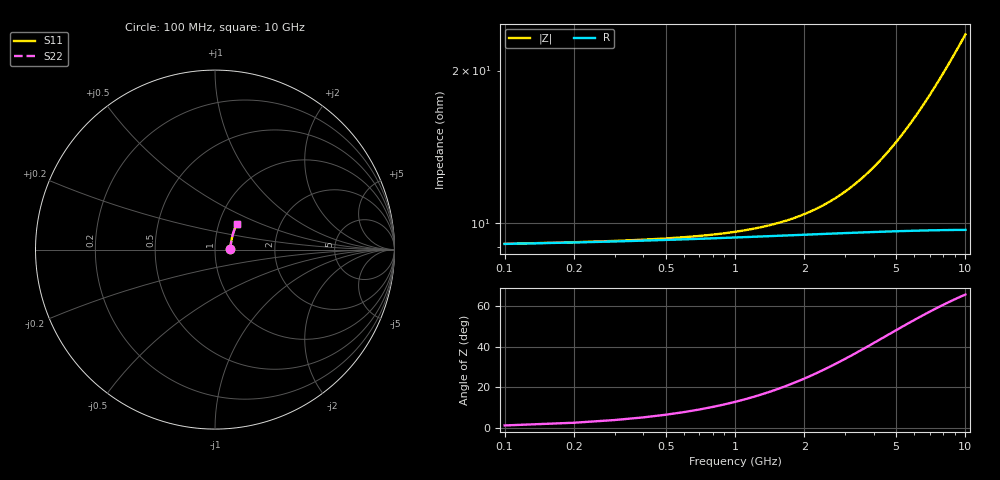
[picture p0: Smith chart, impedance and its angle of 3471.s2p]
# Hz S RI R 50.00
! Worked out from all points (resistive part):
!   100 points, 100 MHz to 10 GHz, reference 50 ohm
!   read as one part in series: R = 9.11 ohm at 100 MHz
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1e8  0.0835 0.00153  0.9165 -0.00209  0.9165 -0.00209  0.0835 0.00153
2e8  0.084 0.00305  0.916 -0.00417  0.916 -0.00417  0.084 0.00305
3e8  0.0844 0.00458  0.9156 -0.00624  0.9156 -0.00624  0.0844 0.00458
8e8  0.0857 0.0122  0.9143 -0.0166  0.9143 -0.0166  0.0857 0.0122
1.1e9  0.0863 0.0167  0.9137 -0.0228  0.9137 -0.0228  0.0863 0.0167
1.4e9  0.0869 0.0212  0.913 -0.029  0.913 -0.029  0.0869 0.0212
1.6e9  0.0873 0.0243  0.9126 -0.0331  0.9126 -0.0331  0.0873 0.0243
1.8e9  0.0877 0.0273  0.9122 -0.0373  0.9122 -0.0373  0.0877 0.0273
2.1e9  0.0884 0.0318  0.9115 -0.0434  0.9115 -0.0434  0.0884 0.0318
2.5e9  0.0893 0.0378  0.9106 -0.0517  0.9106 -0.0517  0.0893 0.0378
2.9e9  0.0902 0.0438  0.9096 -0.0599  0.9096 -0.0599  0.0902 0.0438
3.4e9  0.0916 0.0512  0.9082 -0.0701  0.9082 -0.0701  0.0916 0.0512
4e9  0.0933 0.0601  0.9064 -0.0823  0.9064 -0.0823  0.0933 0.0601
5.1e9  0.0971 0.0762  0.9025 -0.1045  0.9025 -0.1045  0.0971 0.0762
6e9  0.1007 0.0892  0.8987 -0.1225  0.8987 -0.1225  0.1007 0.0892
6.7e9  0.1038 0.0992  0.8954 -0.1364  0.8954 -0.1364  0.1038 0.0992
7.2e9  0.1063 0.1062  0.8929 -0.1463  0.8929 -0.1463  0.1063 0.1062
7.6e9  0.1083 0.1118  0.8907 -0.1541  0.8907 -0.1541  0.1083 0.1118
8.4e9  0.1127 0.1229  0.8862 -0.1696  0.8862 -0.1696  0.1127 0.1229
8.8e9  0.115 0.1283  0.8837 -0.1773  0.8837 -0.1773  0.115 0.1283
9.2e9  0.1174 0.1337  0.8812 -0.1849  0.8812 -0.1849  0.1174 0.1337
1e10  0.1225 0.1443  0.8759 -0.2  0.8759 -0.2  0.1225 0.1443
